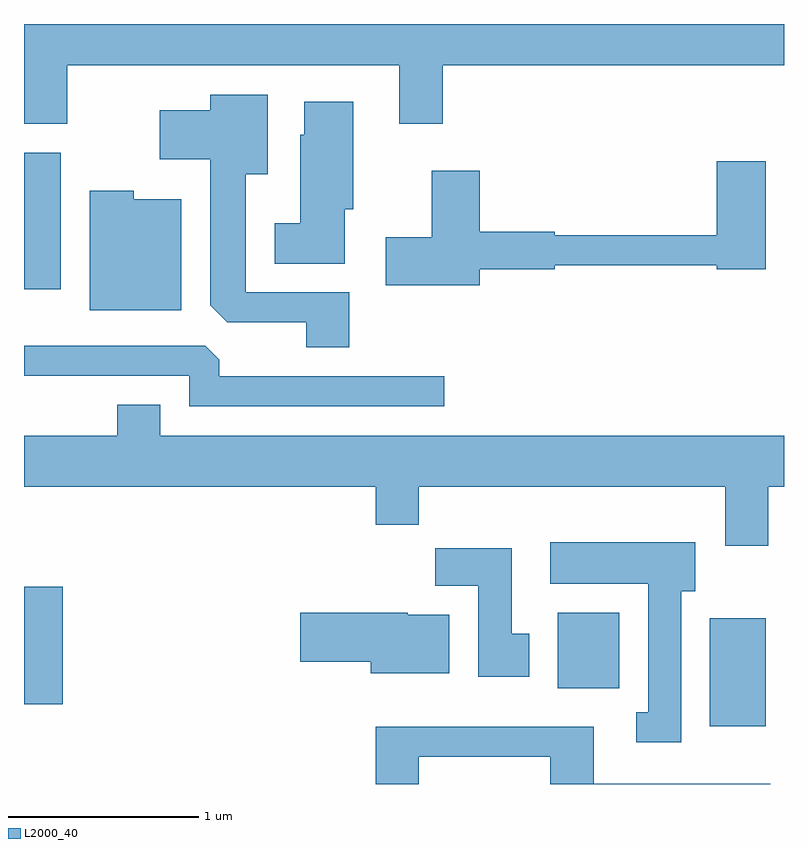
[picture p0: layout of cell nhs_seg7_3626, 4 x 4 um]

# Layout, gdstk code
import gdstk
lib = gdstk.Library(unit=1e-6, precision=1e-09)
def R(c, l, rs):  # rectangles x0, y0, x1, y1
    for r in rs: c.add(gdstk.rectangle(r[:2], r[2:], *l))
def P(c, l, *ps):  # polygons
    for p in ps: c.add(gdstk.Polygon(p, *l))
L2000_40 = (2000, 40)

nhs_seg7_3626 = lib.new_cell('nhs_seg7_3626')
R(nhs_seg7_3626, L2000_40, [(299.221,1768.556,299.514,1769.124), (295.611,1768.671,295.814,1769.289), (298.421,1768.756,298.744,1769.154), (295.611,1770.856,295.804,1771.574)])
P(nhs_seg7_3626, L2000_40, [(295.839,1772.036),(297.586,1772.036),(297.586,1771.726),(297.814,1771.726),(297.814,1772.036),(299.611,1772.036),(299.611,1772.252),(295.611,1772.252),(295.611,1771.726),(295.839,1771.726)],
  [(297.324,1770.839),(296.779,1770.839),(296.779,1771.461),(296.894,1771.461),(296.894,1771.879),(296.591,1771.879),(296.591,1771.799),(296.326,1771.799),(296.326,1771.541),(296.591,1771.541),(296.591,1770.772),(296.682,1770.681),(297.096,1770.681),(297.096,1770.551),(297.324,1770.551)],
  [(297.299,1771.276),(297.344,1771.276),(297.344,1771.844),(297.086,1771.844),(297.086,1771.669),(297.066,1771.669),(297.066,1771.204),(296.931,1771.204),(296.931,1770.991),(297.299,1770.991)],
  [(298.009,1770.961),(298.404,1770.961),(298.404,1770.981),(299.256,1770.981),(299.256,1770.961),(299.514,1770.961),(299.514,1771.529),(299.256,1771.529),(299.256,1771.139),(298.404,1771.139),(298.404,1771.159),(298.009,1771.159),(298.009,1771.479),(297.756,1771.479),(297.756,1771.129),(297.516,1771.129),(297.516,1770.876),(298.009,1770.876)],
  [(296.439,1771.329),(296.189,1771.329),(296.189,1771.374),(295.956,1771.374),(295.956,1770.746),(296.439,1770.746)],
  [(297.823,1770.399),(296.639,1770.399),(296.639,1770.484),(296.564,1770.559),(295.611,1770.559),(295.611,1770.401),(296.481,1770.401),(296.481,1770.241),(297.823,1770.241)],
  [(299.529,1769.816),(299.611,1769.816),(299.611,1770.084),(296.329,1770.084),(296.329,1770.249),(296.101,1770.249),(296.101,1770.084),(295.611,1770.084),(295.611,1769.816),(297.461,1769.816),(297.461,1769.616),(297.689,1769.616),(297.689,1769.816),(299.301,1769.816),(299.301,1769.506),(299.529,1769.506)],
  [(299.069,1769.266),(299.144,1769.266),(299.144,1769.524),(298.381,1769.524),(298.381,1769.306),(298.896,1769.306),(298.896,1768.629),(298.833,1768.629),(298.833,1768.471),(299.069,1768.471)],
  [(298.269,1769.044),(298.179,1769.044),(298.179,1769.494),(297.776,1769.494),(297.776,1769.296),(298.001,1769.296),(298.001,1768.816),(298.269,1768.816)],
  [(297.849,1769.144),(297.63,1769.144),(297.63,1769.154),(297.066,1769.154),(297.066,1768.896),(297.436,1768.896),(297.436,1768.836),(297.849,1768.836)],
  [(297.689,1768.396),(298.381,1768.396),(298.381,1768.252),(299.538,1768.252),(299.538,1768.254),(298.609,1768.254),(298.609,1768.554),(297.461,1768.554),(297.461,1768.252),(297.689,1768.252)])

lib.write_gds('nhs_seg7_3626.gds')
